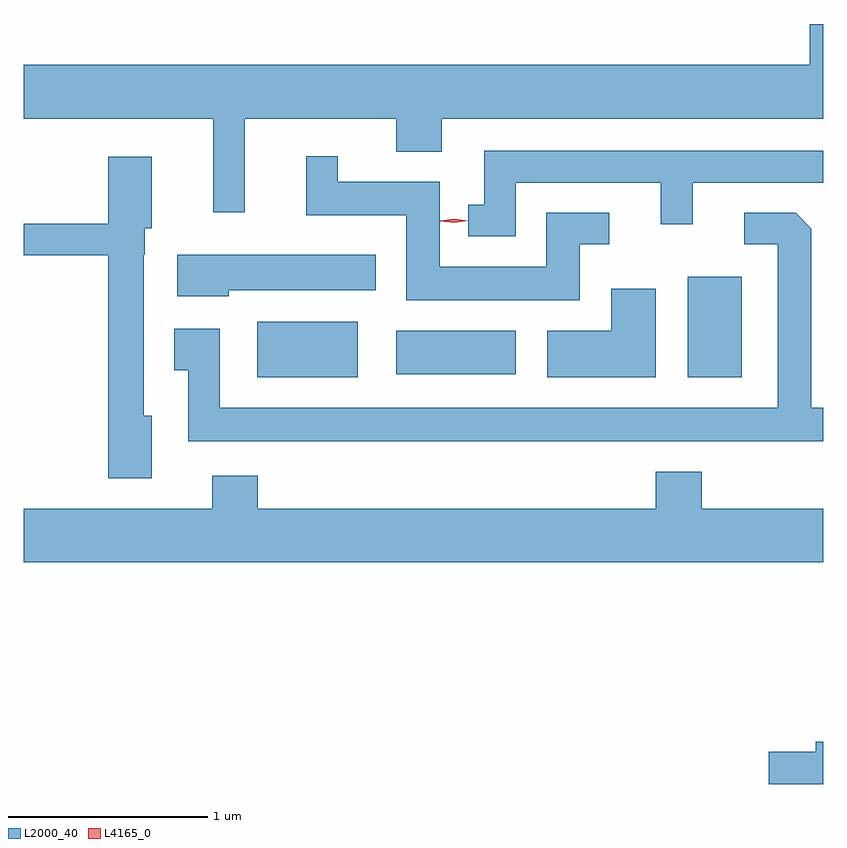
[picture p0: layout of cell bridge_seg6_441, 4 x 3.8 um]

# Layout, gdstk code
import gdstk
lib = gdstk.Library(unit=1e-6, precision=1e-09)
def R(c, l, rs):  # rectangles x0, y0, x1, y1
    for r in rs: c.add(gdstk.rectangle(r[:2], r[2:], *l))
def P(c, l, *ps):  # polygons
    for p in ps: c.add(gdstk.Polygon(p, *l))
L2000_40 = (2000, 40)
L4165_0 = (4165, 0)

bridge_seg6_441 = lib.new_cell('bridge_seg6_441')
R(bridge_seg6_441, L2000_40, [(806.186,1606.461,806.689,1606.739), (808.341,1606.461,808.609,1606.964), (806.881,1606.476,807.479,1606.694)])
P(bridge_seg6_441, L2000_40, [(806.124,1607.756),(806.881,1607.756),(806.881,1607.591),(807.109,1607.591),(807.109,1607.756),(809.018,1607.756),(809.018,1608.229),(808.951,1608.229),(808.951,1608.024),(805.018,1608.024),(805.018,1607.756),(805.966,1607.756),(805.966,1607.288),(806.124,1607.288)],
  [(807.479,1607.436),(808.206,1607.436),(808.206,1607.228),(808.364,1607.228),(808.364,1607.436),(809.018,1607.436),(809.018,1607.594),(807.321,1607.594),(807.321,1607.324),(807.243,1607.324),(807.243,1607.166),(807.479,1607.166)],
  [(807.799,1607.126),(807.948,1607.126),(807.948,1607.284),(807.631,1607.284),(807.631,1607.014),(807.099,1607.014),(807.099,1607.439),(806.589,1607.439),(806.589,1607.568),(806.431,1607.568),(806.431,1607.271),(806.931,1607.271),(806.931,1606.846),(807.799,1606.846)],
  [(805.659,1606.269),(805.619,1606.269),(805.619,1607.075),(805.624,1607.075),(805.624,1607.206),(805.659,1607.206),(805.659,1607.564),(805.441,1607.564),(805.441,1607.229),(805.018,1607.229),(805.018,1607.071),(805.441,1607.071),(805.441,1605.956),(805.659,1605.956)],
  [(809.018,1606.309),(808.959,1606.309),(808.959,1607.204),(808.879,1607.284),(808.623,1607.284),(808.623,1607.126),(808.791,1607.126),(808.791,1606.309),(805.999,1606.309),(805.999,1606.704),(805.771,1606.704),(805.771,1606.496),(805.841,1606.496),(805.841,1606.141),(809.018,1606.141)],
  [(806.044,1606.896),(806.779,1606.896),(806.779,1607.074),(805.786,1607.074),(805.786,1606.866),(806.044,1606.866)],
  [(808.179,1606.904),(807.956,1606.904),(807.956,1606.694),(807.636,1606.694),(807.636,1606.461),(808.179,1606.461)],
  [(809.018,1605.804),(808.409,1605.804),(808.409,1605.989),(808.181,1605.989),(808.181,1605.804),(806.189,1605.804),(806.189,1605.969),(805.961,1605.969),(805.961,1605.804),(805.018,1605.804),(805.018,1605.536),(809.018,1605.536)],
  [(809.018,1604.639),(808.981,1604.639),(808.981,1604.589),(808.746,1604.589),(808.746,1604.427),(809.018,1604.427)])
P(bridge_seg6_441, L4165_0, [(807.172,1607.234),(807.102,1607.243),(807.102,1607.244),(807.102,1607.244),(807.172,1607.254),(807.241,1607.245),(807.241,1607.244),(807.241,1607.244)])

lib.write_gds('bridge_seg6_441.gds')
